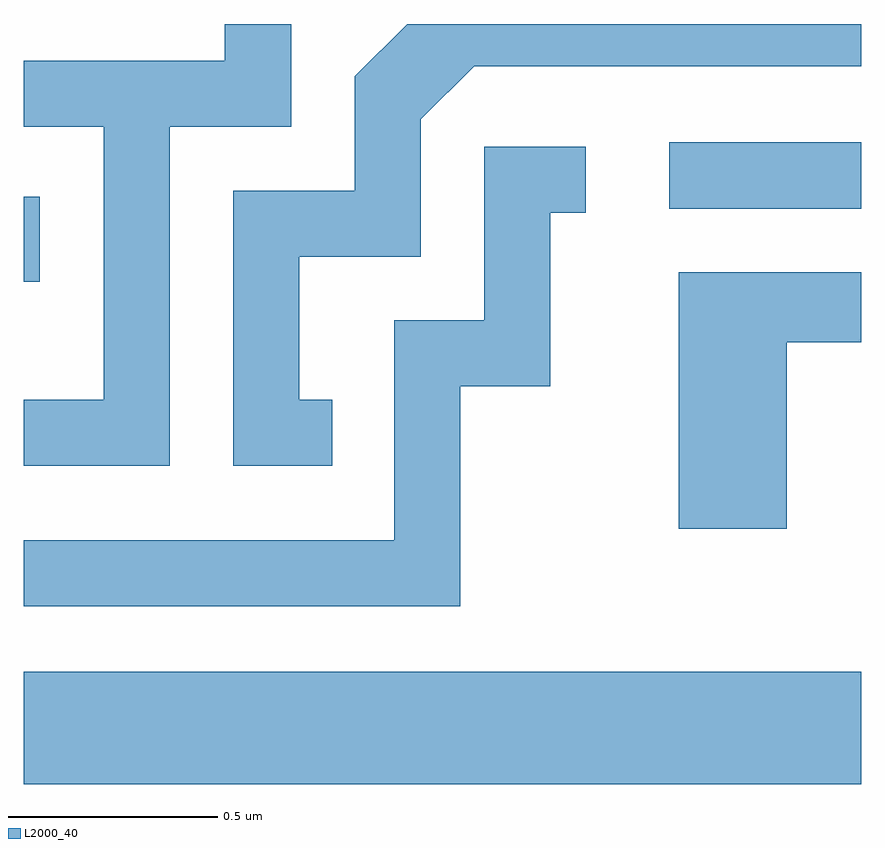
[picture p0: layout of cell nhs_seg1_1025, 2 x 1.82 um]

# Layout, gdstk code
import gdstk
lib = gdstk.Library(unit=1e-6, precision=1e-09)
def R(c, l, rs):  # rectangles x0, y0, x1, y1
    for r in rs: c.add(gdstk.rectangle(r[:2], r[2:], *l))
def P(c, l, *ps):  # polygons
    for p in ps: c.add(gdstk.Polygon(p, *l))
L2000_40 = (2000, 40)

nhs_seg1_1025 = lib.new_cell('nhs_seg1_1025')
R(nhs_seg1_1025, L2000_40, [(192.611,912.896,194.611,913.164), (192.611,914.096,192.649,914.299), (194.153,914.271,194.611,914.429)])
P(nhs_seg1_1025, L2000_40, [(193.348,913.814),(193.269,913.814),(193.269,914.156),(193.559,914.156),(193.559,914.484),(193.687,914.611),(194.611,914.611),(194.611,914.712),(193.527,914.712),(193.401,914.587),(193.401,914.314),(193.111,914.314),(193.111,913.656),(193.348,913.656)],
  [(192.959,914.466),(193.249,914.466),(193.249,914.712),(193.091,914.712),(193.091,914.624),(192.611,914.624),(192.611,914.466),(192.801,914.466),(192.801,913.814),(192.611,913.814),(192.611,913.656),(192.959,913.656)],
  [(193.654,913.846),(193.869,913.846),(193.869,914.261),(193.953,914.261),(193.953,914.419),(193.711,914.419),(193.711,914.004),(193.496,914.004),(193.496,913.479),(192.611,913.479),(192.611,913.321),(193.654,913.321)],
  [(194.434,913.951),(194.611,913.951),(194.611,914.119),(194.176,914.119),(194.176,913.506),(194.434,913.506)])

lib.write_gds('nhs_seg1_1025.gds')
